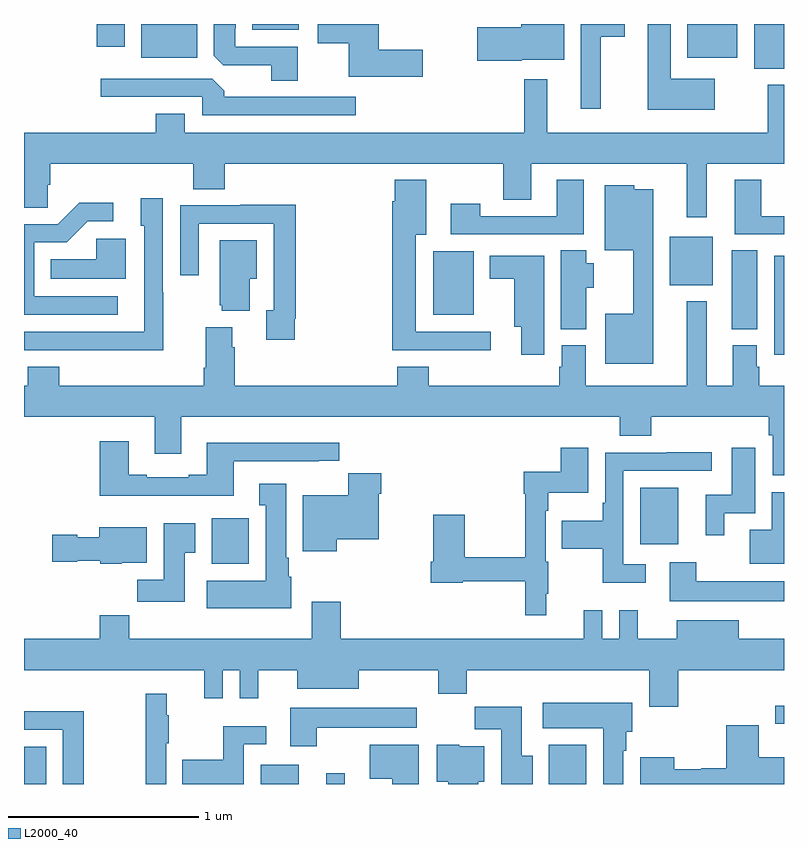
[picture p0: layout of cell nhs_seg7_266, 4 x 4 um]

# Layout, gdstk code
import gdstk
lib = gdstk.Library(unit=1e-6, precision=1e-09)
def R(c, l, rs):  # rectangles x0, y0, x1, y1
    for r in rs: c.add(gdstk.rectangle(r[:2], r[2:], *l))
def P(c, l, *ps):  # polygons
    for p in ps: c.add(gdstk.Polygon(p, *l))
L2000_40 = (2000, 40)

nhs_seg7_266 = lib.new_cell('nhs_seg7_266')
R(nhs_seg7_266, L2000_40, [(131,1016,131.116,1016.197), (132.245,1016,132.445,1016.101), (132.59,1016,132.688,1016.056), (133.763,1016,133.96,1016.206), (134.955,1016.316,135,1016.412), (131.987,1017.158,132.184,1017.4), (134.243,1017.263,134.443,1017.559), (134.948,1018.26,135,1018.78), (134.726,1018.393,134.86,1018.808), (133.154,1018.469,133.366,1018.804), (134.399,1018.625,134.626,1018.879), (134.843,1019.765,135,1020), (131.618,1019.822,131.911,1020), (134.492,1019.822,134.755,1020), (131.384,1019.88,131.53,1020), (132.2,1019.969,132.445,1020)])
P(nhs_seg7_266, L2000_40, [(134.635,1019.713),(134.404,1019.713),(134.404,1020),(134.282,1020),(134.282,1019.549),(134.635,1019.549)],
  [(134.035,1019.933),(134.161,1019.933),(134.161,1020),(133.931,1020),(133.931,1019.553),(134.035,1019.553)],
  [(133.099,1019.864),(132.866,1019.864),(132.866,1020),(132.546,1020),(132.546,1019.9),(132.71,1019.9),(132.71,1019.722),(133.099,1019.722)],
  [(132.442,1019.88),(132.111,1019.88),(132.111,1019.977),(132.115,1019.977),(132.115,1020),(131.999,1020),(131.999,1019.833),(132.048,1019.784),(132.302,1019.784),(132.302,1019.701),(132.442,1019.701)],
  [(133.62,1019.813),(133.843,1019.813),(133.843,1020),(133.616,1020),(133.616,1019.984),(133.386,1019.984),(133.386,1019.806),(133.62,1019.806)],
  [(132.745,1019.616),(132.053,1019.616),(132.053,1019.65),(131.991,1019.712),(131.403,1019.712),(131.403,1019.616),(131.937,1019.616),(131.937,1019.52),(132.745,1019.52)],
  [(134.593,1019.264),(135,1019.264),(135,1019.68),(134.915,1019.68),(134.915,1019.428),(133.753,1019.428),(133.753,1019.71),(133.632,1019.71),(133.632,1019.428),(131.845,1019.428),(131.845,1019.527),(131.693,1019.527),(131.693,1019.428),(131,1019.428),(131,1019.032),(131.124,1019.032),(131.124,1019.155),(131.138,1019.155),(131.138,1019.264),(131.891,1019.264),(131.891,1019.131),(132.056,1019.131),(132.056,1019.264),(133.522,1019.264),(133.522,1019.074),(133.669,1019.074),(133.669,1019.264),(134.489,1019.264),(134.489,1018.983),(134.593,1018.983)],
  [(133.945,1019.179),(133.805,1019.179),(133.805,1018.989),(133.401,1018.989),(133.401,1019.053),(133.245,1019.053),(133.245,1018.893),(133.945,1018.893)],
  [(133.456,1018.38),(133.063,1018.38),(133.063,1018.892),(133.117,1018.892),(133.117,1019.179),(132.95,1019.179),(132.95,1019.066),(132.938,1019.066),(132.938,1018.283),(133.456,1018.283)],
  [(135,1018.989),(134.881,1018.989),(134.881,1019.179),(134.741,1019.179),(134.741,1018.893),(135,1018.893)],
  [(134.311,1019.131),(134.211,1019.131),(134.211,1019.152),(134.057,1019.152),(134.057,1018.808),(134.207,1018.808),(134.207,1018.474),(134.06,1018.474),(134.06,1018.211),(134.311,1018.211)],
  [(131.733,1018.589),(131.73,1018.589),(131.73,1019.083),(131.615,1019.083),(131.615,1018.938),(131.634,1018.938),(131.634,1018.628),(131.633,1018.628),(131.633,1018.38),(131,1018.38),(131,1018.284),(131.269,1018.284),(131.269,1018.283),(131.733,1018.283)],
  [(131.494,1018.566),(131.055,1018.566),(131.055,1018.851),(131.224,1018.851),(131.335,1018.962),(131.47,1018.962),(131.47,1019.06),(131.291,1019.06),(131.178,1018.947),(131,1018.947),(131,1018.47),(131.494,1018.47)],
  [(132.424,1018.45),(132.431,1018.45),(132.431,1019.048),(132.139,1019.048),(132.139,1019.046),(131.823,1019.046),(131.823,1018.677),(131.919,1018.677),(131.919,1018.95),(132.315,1018.95),(132.315,1018.494),(132.275,1018.494),(132.275,1018.338),(132.424,1018.338)],
  [(131.536,1018.87),(131.379,1018.87),(131.379,1018.762),(131.14,1018.762),(131.14,1018.658),(131.536,1018.658)],
  [(132.187,1018.658),(132.226,1018.658),(132.226,1018.861),(132.029,1018.861),(132.029,1018.521),(132.041,1018.521),(132.041,1018.49),(132.187,1018.49)],
  [(133.96,1018.612),(133.999,1018.612),(133.999,1018.741),(133.96,1018.741),(133.96,1018.808),(133.826,1018.808),(133.826,1018.393),(133.96,1018.393)],
  [(133.738,1018.78),(133.451,1018.78),(133.451,1018.658),(133.58,1018.658),(133.58,1018.406),(133.616,1018.406),(133.616,1018.26),(133.738,1018.26)],
  [(133.829,1018.308),(133.829,1018.197),(133.817,1018.197),(133.817,1018.096),(133.13,1018.096),(133.13,1018.195),(132.965,1018.195),(132.965,1018.096),(132.11,1018.096),(132.11,1018.298),(132.097,1018.298),(132.097,1018.405),(131.957,1018.405),(131.957,1018.192),(131.945,1018.192),(131.945,1018.096),(131.186,1018.096),(131.186,1018.195),(131.021,1018.195),(131.021,1018.096),(131,1018.096),(131,1017.932),(131.687,1017.932),(131.687,1017.738),(131.827,1017.738),(131.827,1017.932),(134.135,1017.932),(134.135,1017.833),(134.3,1017.833),(134.3,1017.932),(134.92,1017.932),(134.92,1017.836),(134.94,1017.836),(134.94,1017.624),(135,1017.624),(135,1018.096),(134.87,1018.096),(134.87,1018.197),(134.857,1018.197),(134.857,1018.308),(134.729,1018.308),(134.729,1018.096),(134.593,1018.096),(134.593,1018.54),(134.489,1018.54),(134.489,1018.096),(133.957,1018.096),(133.957,1018.308)],
  [(132.103,1017.699),(132.551,1017.699),(132.551,1017.701),(132.66,1017.701),(132.66,1017.796),(131.963,1017.796),(131.963,1017.628),(131.867,1017.628),(131.867,1017.615),(131.647,1017.615),(131.647,1017.628),(131.551,1017.628),(131.551,1017.805),(131.399,1017.805),(131.399,1017.518),(132.103,1017.518)],
  [(133.748,1017.001),(133.759,1017.001),(133.759,1017.171),(133.746,1017.171),(133.746,1017.437),(133.759,1017.437),(133.759,1017.533),(133.969,1017.533),(133.969,1017.769),(133.826,1017.769),(133.826,1017.643),(133.63,1017.643),(133.63,1017.527),(133.638,1017.527),(133.638,1017.194),(133.32,1017.194),(133.32,1017.418),(133.154,1017.418),(133.154,1017.169),(133.142,1017.169),(133.142,1017.058),(133.308,1017.058),(133.308,1017.066),(133.638,1017.066),(133.638,1016.889),(133.748,1016.889)],
  [(134.686,1017.426),(134.848,1017.426),(134.848,1017.769),(134.726,1017.769),(134.726,1017.522),(134.588,1017.522),(134.588,1017.309),(134.686,1017.309)],
  [(134.272,1017.156),(134.154,1017.156),(134.154,1017.648),(134.62,1017.648),(134.62,1017.746),(134.383,1017.746),(134.383,1017.744),(134.058,1017.744),(134.058,1017.481),(134.046,1017.481),(134.046,1017.385),(133.831,1017.385),(133.831,1017.238),(134.046,1017.238),(134.046,1017.059),(134.272,1017.059)],
  [(132.646,1017.287),(132.868,1017.287),(132.868,1017.527),(132.881,1017.527),(132.881,1017.636),(132.707,1017.636),(132.707,1017.52),(132.467,1017.52),(132.467,1017.224),(132.646,1017.224)],
  [(132.406,1017.09),(132.394,1017.09),(132.394,1017.19),(132.379,1017.19),(132.379,1017.58),(132.239,1017.58),(132.239,1017.467),(132.272,1017.467),(132.272,1017.07),(131.963,1017.07),(131.963,1016.924),(132.406,1016.924)],
  [(135,1017.535),(134.936,1017.535),(134.936,1017.337),(134.819,1017.337),(134.819,1017.158),(135,1017.158)],
  [(131.845,1017.217),(131.902,1017.217),(131.902,1017.373),(131.735,1017.373),(131.735,1017.076),(131.596,1017.076),(131.596,1016.958),(131.845,1016.958)],
  [(131.514,1017.164),(131.647,1017.164),(131.647,1017.352),(131.396,1017.352),(131.396,1017.298),(131.28,1017.298),(131.28,1017.311),(131.148,1017.311),(131.148,1017.169),(131.28,1017.169),(131.28,1017.176),(131.4,1017.176),(131.4,1017.158),(131.514,1017.158)],
  [(135,1017.067),(134.539,1017.067),(134.539,1017.166),(134.399,1017.166),(134.399,1016.963),(135,1016.963)],
  [(134.444,1016.6),(135,1016.6),(135,1016.764),(134.761,1016.764),(134.761,1016.863),(134.435,1016.863),(134.435,1016.764),(134.231,1016.764),(134.231,1016.914),(134.133,1016.914),(134.133,1016.764),(134.043,1016.764),(134.043,1016.914),(133.946,1016.914),(133.946,1016.764),(132.668,1016.764),(132.668,1016.959),(132.515,1016.959),(132.515,1016.764),(131.555,1016.764),(131.555,1016.888),(131.399,1016.888),(131.399,1016.764),(131,1016.764),(131,1016.6),(131.948,1016.6),(131.948,1016.451),(132.045,1016.451),(132.045,1016.6),(132.135,1016.6),(132.135,1016.451),(132.233,1016.451),(132.233,1016.6),(132.437,1016.6),(132.437,1016.501),(132.763,1016.501),(132.763,1016.6),(133.18,1016.6),(133.18,1016.476),(133.331,1016.476),(133.331,1016.6),(134.291,1016.6),(134.291,1016.406),(134.444,1016.406)],
  [(131.748,1016.215),(131.761,1016.215),(131.761,1016.363),(131.75,1016.363),(131.75,1016.476),(131.64,1016.476),(131.64,1016),(131.748,1016)],
  [(134.155,1016.174),(134.17,1016.174),(134.17,1016.274),(134.2,1016.274),(134.2,1016.428),(133.731,1016.428),(133.731,1016.294),(134.048,1016.294),(134.048,1016),(134.155,1016)],
  [(133.678,1016.148),(133.621,1016.148),(133.621,1016.407),(133.372,1016.407),(133.372,1016.288),(133.511,1016.288),(133.511,1016),(133.678,1016)],
  [(132.541,1016.297),(133.066,1016.297),(133.066,1016.401),(132.401,1016.401),(132.401,1016.199),(132.541,1016.199)],
  [(131.314,1016.384),(131.029,1016.384),(131.029,1016.382),(131,1016.382),(131,1016.286),(131.205,1016.286),(131.205,1016),(131.314,1016)],
  [(135,1016.14),(134.866,1016.14),(134.866,1016.308),(134.696,1016.308),(134.696,1016.084),(134.565,1016.084),(134.565,1016.077),(134.422,1016.077),(134.422,1016.14),(134.243,1016.14),(134.243,1016),(135,1016)],
  [(132.156,1016.208),(132.274,1016.208),(132.274,1016.305),(132.048,1016.305),(132.048,1016.127),(131.833,1016.127),(131.833,1016),(132.156,1016)],
  [(133.39,1016.012),(133.423,1016.012),(133.423,1016.2),(133.29,1016.2),(133.29,1016.206),(133.172,1016.206),(133.172,1016.012),(133.232,1016.012),(133.232,1016),(133.39,1016)],
  [(133.078,1016.206),(132.821,1016.206),(132.821,1016.027),(132.938,1016.027),(132.938,1016),(133.078,1016)])

lib.write_gds('nhs_seg7_266.gds')
